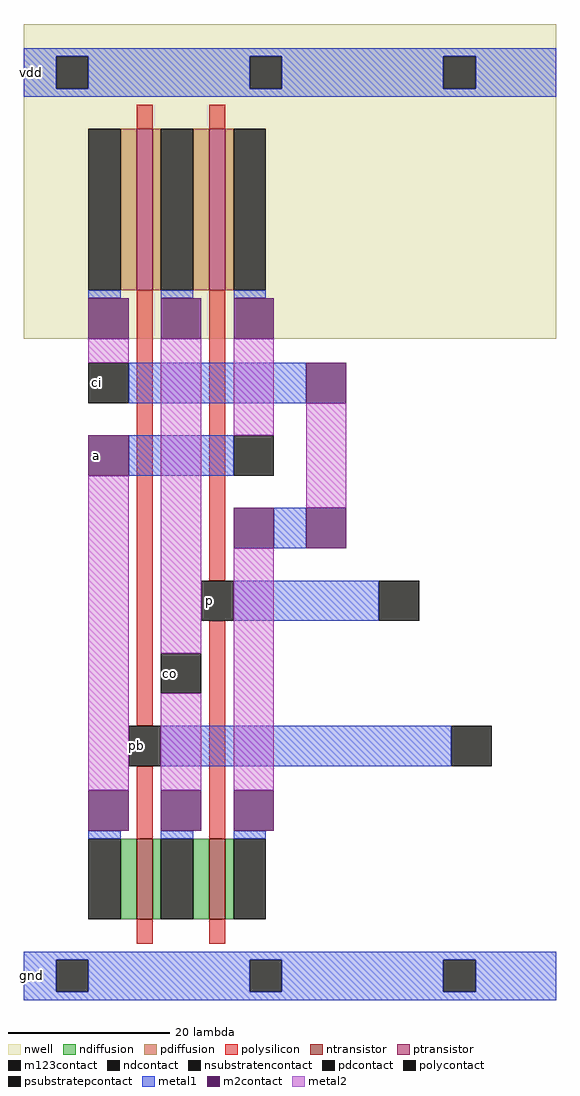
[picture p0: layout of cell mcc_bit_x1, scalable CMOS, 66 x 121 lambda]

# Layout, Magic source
magic
tech scmos
<< nwell >>
rect 0 82 66 121
<< ntransistor >>
rect 14 10 16 20
rect 23 10 25 20
<< ptransistor >>
rect 14 88 16 108
rect 23 88 25 108
<< ndiffusion >>
rect 12 10 14 20
rect 16 10 17 20
rect 21 10 23 20
rect 25 10 26 20
<< pdiffusion >>
rect 12 88 14 108
rect 16 88 17 108
rect 21 88 23 108
rect 25 88 26 108
<< ndcontact >>
rect 8 10 12 20
rect 17 10 21 20
rect 26 10 30 20
<< pdcontact >>
rect 8 88 12 108
rect 17 88 21 108
rect 26 88 30 108
<< psubstratepcontact >>
rect 4 1 8 5
rect 28 1 32 5
rect 52 1 56 5
<< nsubstratencontact >>
rect 4 113 8 117
rect 28 113 32 117
rect 52 113 56 117
<< polysilicon >>
rect 14 108 16 111
rect 23 108 25 111
rect 14 34 16 88
rect 23 52 25 88
rect 14 20 16 29
rect 23 20 25 47
rect 14 7 16 10
rect 23 7 25 10
<< polycontact >>
rect 22 47 26 52
rect 13 29 17 34
<< metal1 >>
rect 0 117 66 118
rect 0 113 4 117
rect 8 113 28 117
rect 32 113 52 117
rect 56 113 66 117
rect 0 112 66 113
rect 8 87 12 88
rect 17 87 21 88
rect 26 87 30 88
rect 13 74 35 79
rect 13 65 26 70
rect 31 56 35 61
rect 26 47 44 52
rect 17 29 53 34
rect 8 20 12 21
rect 17 20 21 21
rect 26 20 30 21
rect 0 5 66 6
rect 0 1 4 5
rect 8 1 28 5
rect 32 1 52 5
rect 56 1 66 5
rect 0 0 66 1
<< m2contact >>
rect 8 82 13 87
rect 17 82 22 87
rect 26 82 31 87
rect 35 74 40 79
rect 8 65 13 70
rect 26 56 31 61
rect 35 56 40 61
rect 8 21 13 26
rect 17 21 22 26
rect 26 21 31 26
<< metal2 >>
rect 8 79 13 82
rect 8 26 13 65
rect 17 43 22 82
rect 26 70 31 82
rect 35 61 40 74
rect 17 26 22 38
rect 26 26 31 56
<< m123contact >>
rect 8 74 13 79
rect 26 65 31 70
rect 17 38 22 43
rect 44 47 49 52
rect 53 29 58 34
<< labels >>
rlabel m2contact 8 65 10 70 0 a
port 1 nsew
rlabel metal1 8 74 10 79 0 ci
port 2 nsew
rlabel metal1 17 38 19 43 0 co
port 3 nsew
rlabel metal1 22 47 24 52 0 p
port 4 nsew
rlabel metal1 13 29 15 34 0 pb
port 5 nsew
rlabel metal1 0 112 2 118 0 vdd
port 6 nsew
rlabel metal1 0 0 2 6 0 gnd
port 7 nsew
<< end >>
